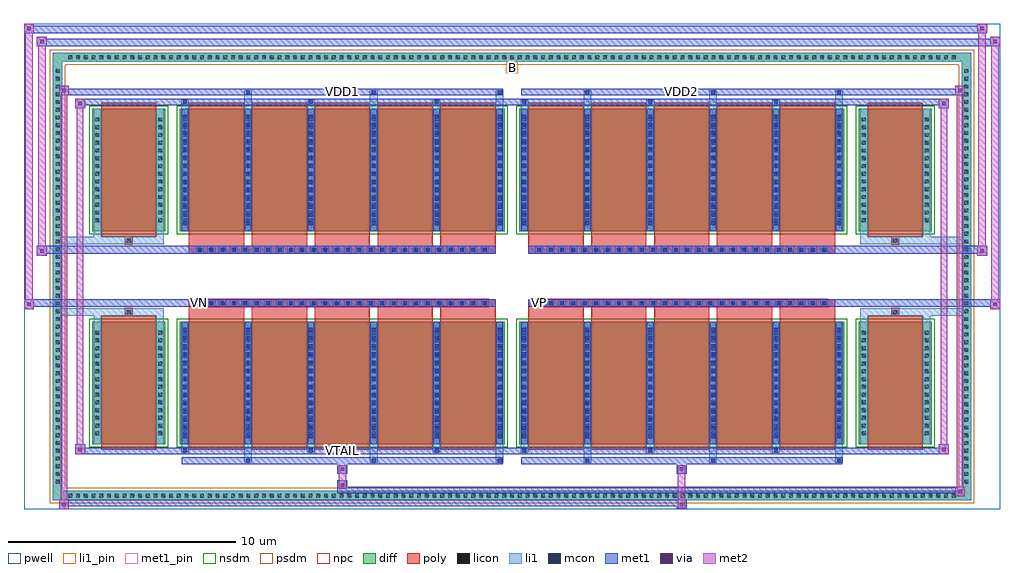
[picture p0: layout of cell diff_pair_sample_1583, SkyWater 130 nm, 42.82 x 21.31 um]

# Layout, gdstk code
import gdstk
lib = gdstk.Library(unit=1e-6, precision=5e-09)
def R(c, l, rs):  # rectangles x0, y0, x1, y1
    for r in rs: c.add(gdstk.rectangle(r[:2], r[2:], *l))
def A(c, l, x, y, w, h, nx, ny, dx, dy):  # array of equal rectangles
    R(c, l, [(x+i*dx, y+j*dy, x+i*dx+w, y+j*dy+h) for i in range(nx) for j in range(ny)])
def P(c, l, *ps):  # polygons
    for p in ps: c.add(gdstk.Polygon(p, *l))
pwell = (64, 44)
diff = (65, 20)
poly = (66, 20)
licon = (66, 44)
li1_pin = (67, 16)
li1 = (67, 20)
mcon = (67, 44)
met1_pin = (68, 16)
met1 = (68, 20)
via = (68, 44)
met2 = (69, 20)
nsdm = (93, 44)
psdm = (94, 20)
npc = (95, 20)

diff_pair_sample_1583 = lib.new_cell('diff_pair_sample_1583')
R(diff_pair_sample_1583, pwell, [(-21.41,-10.22,21.41,11.09), (-18.73,-8.41,-0.01,-0.805), (0.01,-8.41,18.73,-0.805), (-18.73,0.805,-0.01,8.41), (0.01,0.805,18.73,8.41)])
A(diff_pair_sample_1583, diff, -19.585, -9.82, 0.41, 0.41, 115, 2, 0.34, 19.23)
A(diff_pair_sample_1583, diff, -20.14, -9.215, 0.41, 0.41, 1, 54, 0, 0.34)
A(diff_pair_sample_1583, diff, 19.73, -9.215, 0.41, 0.41, 1, 54, 0, 0.34)
R(diff_pair_sample_1583, diff, [(-19.585,-9.82,19.585,-9.41), (-20.14,-9.215,-19.73,9.215), (19.73,-9.215,20.14,9.215), (-18.42,-7.365,-15.21,-1.985), (-14.57,-7.365,-0.32,-1.985), (0.32,-7.365,14.57,-1.985), (15.21,-7.365,18.42,-1.985), (-18.42,1.985,-15.21,7.365), (-14.57,1.985,-0.32,7.365), (0.32,1.985,14.57,7.365), (15.21,1.985,18.42,7.365), (-19.585,9.41,19.585,9.82)])
P(diff_pair_sample_1583, diff, [(20.14,9.82),(-20.14,9.82),(-20.14,-9.41),(-19.73,-9.41),(-19.73,9.41),(19.73,9.41),(19.73,-9.41),(-19.73,-9.41),(-20.14,-9.41),(-20.14,-9.82),(20.14,-9.82)])
A(diff_pair_sample_1583, poly, -14.18, -7.615, 2.43, 5.88, 5, 2, 2.76, 9.35)
A(diff_pair_sample_1583, poly, 0.71, -7.615, 2.43, 5.88, 5, 2, 2.76, 9.35)
A(diff_pair_sample_1583, poly, -14.18, -1.735, 2.43, 0.4, 5, 2, 2.76, 3.07)
A(diff_pair_sample_1583, poly, 0.71, -1.735, 2.43, 0.4, 5, 2, 2.76, 3.07)
A(diff_pair_sample_1583, poly, -13.86, -1.335, 0.33, 0.33, 26, 2, 0.5, 2.34)
A(diff_pair_sample_1583, poly, 1.03, -1.335, 0.33, 0.33, 26, 2, 0.5, 2.34)
R(diff_pair_sample_1583, poly, [(-18.03,-7.615,-15.6,-1.735), (15.6,-7.615,18.03,-1.735), (-16.98,-1.735,-16.65,-1.405), (-16.98,-1.735,-16.65,-1.405), (16.65,-1.735,16.98,-1.405), (16.65,-1.735,16.98,-1.405), (-14.18,-1.335,-0.71,-1.005), (0.71,-1.335,14.18,-1.005), (-14.18,1.005,-0.71,1.335), (0.71,1.005,14.18,1.335), (-16.98,1.405,-16.65,1.735), (-16.98,1.405,-16.65,1.735), (16.65,1.405,16.98,1.735), (16.65,1.405,16.98,1.735), (-18.03,1.735,-15.6,7.615), (15.6,1.735,18.03,7.615)])
A(diff_pair_sample_1583, licon, -19.465, -9.7, 0.17, 0.17, 115, 2, 0.34, 19.23)
A(diff_pair_sample_1583, licon, -20.02, -9.095, 0.17, 0.17, 1, 54, 0, 0.34)
A(diff_pair_sample_1583, licon, 19.85, -9.095, 0.17, 0.17, 1, 54, 0, 0.34)
A(diff_pair_sample_1583, licon, -18.28, -6.97, 0.17, 0.17, 1, 14, 0, 0.34)
A(diff_pair_sample_1583, licon, -15.52, -6.97, 0.17, 0.17, 1, 14, 0, 0.34)
A(diff_pair_sample_1583, licon, -14.43, -6.97, 0.17, 0.17, 6, 14, 2.76, 0.34)
A(diff_pair_sample_1583, licon, 0.46, -6.97, 0.17, 0.17, 6, 14, 2.76, 0.34)
A(diff_pair_sample_1583, licon, 15.35, -6.97, 0.17, 0.17, 1, 14, 0, 0.34)
A(diff_pair_sample_1583, licon, 18.11, -6.97, 0.17, 0.17, 1, 14, 0, 0.34)
A(diff_pair_sample_1583, licon, -13.78, -1.255, 0.17, 0.17, 26, 2, 0.5, 2.34)
A(diff_pair_sample_1583, licon, 1.11, -1.255, 0.17, 0.17, 26, 2, 0.5, 2.34)
A(diff_pair_sample_1583, licon, -18.28, 2.38, 0.17, 0.17, 1, 14, 0, 0.34)
A(diff_pair_sample_1583, licon, -15.52, 2.38, 0.17, 0.17, 1, 14, 0, 0.34)
A(diff_pair_sample_1583, licon, -14.43, 2.38, 0.17, 0.17, 6, 14, 2.76, 0.34)
A(diff_pair_sample_1583, licon, 0.46, 2.38, 0.17, 0.17, 6, 14, 2.76, 0.34)
A(diff_pair_sample_1583, licon, 15.35, 2.38, 0.17, 0.17, 1, 14, 0, 0.34)
A(diff_pair_sample_1583, licon, 18.11, 2.38, 0.17, 0.17, 1, 14, 0, 0.34)
R(diff_pair_sample_1583, licon, [(-16.9,-1.655,-16.73,-1.485), (16.73,-1.655,16.9,-1.485), (-16.9,1.485,-16.73,1.655), (16.73,1.485,16.9,1.655)])
R(diff_pair_sample_1583, li1_pin, [(-0.25,8.91,0.25,9.41)])
A(diff_pair_sample_1583, li1, -19.545, -9.78, 0.33, 0.33, 115, 2, 0.34, 19.23)
A(diff_pair_sample_1583, li1, -20.1, -9.175, 0.33, 0.33, 1, 54, 0, 0.34)
A(diff_pair_sample_1583, li1, 19.77, -9.175, 0.33, 0.33, 1, 54, 0, 0.34)
A(diff_pair_sample_1583, li1, -11.75, -8.17, 0.33, 0.805, 3, 2, 5.52, 15.535)
A(diff_pair_sample_1583, li1, -11.67, -8.17, 0.17, 0.17, 3, 2, 5.52, 16.17)
A(diff_pair_sample_1583, li1, 3.14, -8.17, 0.33, 0.805, 3, 2, 5.52, 15.535)
A(diff_pair_sample_1583, li1, 3.22, -8.17, 0.17, 0.17, 3, 2, 5.52, 16.17)
A(diff_pair_sample_1583, li1, -14.51, -7.74, 0.33, 0.375, 3, 2, 5.52, 15.105)
A(diff_pair_sample_1583, li1, -14.43, -7.74, 0.17, 0.17, 3, 2, 5.52, 15.31)
A(diff_pair_sample_1583, li1, 0.38, -7.74, 0.33, 0.375, 3, 2, 5.52, 15.105)
A(diff_pair_sample_1583, li1, 0.46, -7.74, 0.17, 0.17, 3, 2, 5.52, 15.31)
A(diff_pair_sample_1583, li1, -14.51, -7.365, 0.33, 5.38, 6, 2, 2.76, 9.35)
A(diff_pair_sample_1583, li1, 0.38, -7.365, 0.33, 5.38, 6, 2, 2.76, 9.35)
A(diff_pair_sample_1583, li1, -14.43, -7.1, 0.17, 0.17, 6, 14, 2.76, 0.36)
A(diff_pair_sample_1583, li1, -14.43, -7.1, 0.17, 4.85, 6, 2, 2.76, 9.35)
A(diff_pair_sample_1583, li1, 0.46, -7.1, 0.17, 0.17, 6, 14, 2.76, 0.36)
A(diff_pair_sample_1583, li1, 0.46, -7.1, 0.17, 4.85, 6, 2, 2.76, 9.35)
A(diff_pair_sample_1583, li1, -18.36, -7.05, 0.33, 0.33, 1, 14, 0, 0.34)
A(diff_pair_sample_1583, li1, -15.6, -7.05, 0.33, 0.33, 1, 14, 0, 0.34)
A(diff_pair_sample_1583, li1, -14.51, -7.05, 0.33, 0.33, 6, 14, 2.76, 0.34)
A(diff_pair_sample_1583, li1, 0.38, -7.05, 0.33, 0.33, 6, 14, 2.76, 0.34)
A(diff_pair_sample_1583, li1, 15.27, -7.05, 0.33, 0.33, 1, 14, 0, 0.34)
A(diff_pair_sample_1583, li1, 18.03, -7.05, 0.33, 0.33, 1, 14, 0, 0.34)
A(diff_pair_sample_1583, li1, -13.86, -1.335, 0.33, 0.33, 26, 2, 0.5, 2.34)
A(diff_pair_sample_1583, li1, 1.03, -1.335, 0.33, 0.33, 26, 2, 0.5, 2.34)
A(diff_pair_sample_1583, li1, -14.43, 2.25, 0.17, 0.17, 6, 14, 2.76, 0.36)
A(diff_pair_sample_1583, li1, 0.46, 2.25, 0.17, 0.17, 6, 14, 2.76, 0.36)
A(diff_pair_sample_1583, li1, -18.36, 2.3, 0.33, 0.33, 1, 14, 0, 0.34)
A(diff_pair_sample_1583, li1, -15.6, 2.3, 0.33, 0.33, 1, 14, 0, 0.34)
A(diff_pair_sample_1583, li1, -14.51, 2.3, 0.33, 0.33, 6, 14, 2.76, 0.34)
A(diff_pair_sample_1583, li1, 0.38, 2.3, 0.33, 0.33, 6, 14, 2.76, 0.34)
A(diff_pair_sample_1583, li1, 15.27, 2.3, 0.33, 0.33, 1, 14, 0, 0.34)
A(diff_pair_sample_1583, li1, 18.03, 2.3, 0.33, 0.33, 1, 14, 0, 0.34)
R(diff_pair_sample_1583, li1, [(-20.14,-9.82,-19.73,-9.41), (-20.14,-9.82,-19.73,-9.41), (-19.73,-9.82,19.73,-9.41), (19.73,-9.82,20.14,-9.41), (19.73,-9.82,20.14,-9.41), (-20.14,-9.41,-19.73,9.41), (19.73,-9.41,20.14,9.41), (-18.36,-7.365,-18.03,-1.985), (-15.6,-7.365,-15.27,-1.985), (15.27,-7.365,15.6,-1.985), (18.03,-7.365,18.36,-1.985), (-18.36,-1.985,-18.03,-1.405), (-15.6,-1.985,-15.27,-1.405), (15.27,-1.985,15.6,-1.405), (18.03,-1.985,18.36,-1.405), (-20.14,-1.735,-16.98,-1.405), (-18.36,-1.735,-16.98,-1.405), (-16.98,-1.735,-16.65,-1.405), (-16.65,-1.735,-15.27,-1.405), (15.27,-1.735,16.65,-1.405), (16.65,-1.735,16.98,-1.405), (16.65,-1.735,20.14,-1.405), (16.98,-1.735,18.36,-1.405), (-20.14,1.405,-16.98,1.735), (-18.36,1.405,-16.98,1.735), (-18.36,1.405,-18.03,1.985), (-16.98,1.405,-16.65,1.735), (-16.65,1.405,-15.27,1.735), (-15.6,1.405,-15.27,1.985), (15.27,1.405,16.65,1.735), (15.27,1.405,15.6,1.985), (16.65,1.405,16.98,1.735), (16.65,1.405,20.14,1.735), (16.98,1.405,18.36,1.735), (18.03,1.405,18.36,1.985), (-18.36,1.985,-18.03,7.365), (-15.6,1.985,-15.27,7.365), (15.27,1.985,15.6,7.365), (18.03,1.985,18.36,7.365), (-20.14,9.41,-19.73,9.82), (-20.14,9.41,-19.73,9.82), (-19.73,9.41,19.73,9.82), (19.73,9.41,20.14,9.82), (19.73,9.41,20.14,9.82)])
A(diff_pair_sample_1583, mcon, -11.67, -8.17, 0.17, 0.17, 3, 2, 5.52, 16.17)
A(diff_pair_sample_1583, mcon, 3.22, -8.17, 0.17, 0.17, 3, 2, 5.52, 16.17)
A(diff_pair_sample_1583, mcon, -14.43, -7.74, 0.17, 0.17, 3, 2, 5.52, 15.31)
A(diff_pair_sample_1583, mcon, 0.46, -7.74, 0.17, 0.17, 3, 2, 5.52, 15.31)
A(diff_pair_sample_1583, mcon, -14.43, -7.1, 0.17, 0.17, 6, 14, 2.76, 0.36)
A(diff_pair_sample_1583, mcon, 0.46, -7.1, 0.17, 0.17, 6, 14, 2.76, 0.36)
A(diff_pair_sample_1583, mcon, -13.78, -1.255, 0.17, 0.17, 26, 2, 0.5, 2.34)
A(diff_pair_sample_1583, mcon, 1.11, -1.255, 0.17, 0.17, 26, 2, 0.5, 2.34)
A(diff_pair_sample_1583, mcon, -14.43, 2.25, 0.17, 0.17, 6, 14, 2.76, 0.36)
A(diff_pair_sample_1583, mcon, 0.46, 2.25, 0.17, 0.17, 6, 14, 2.76, 0.36)
R(diff_pair_sample_1583, met1_pin, [(-7.58,-7.78,-7.31,-7.51), (-13.83,-1.295,-13.56,-1.025), (1.06,-1.295,1.33,-1.025), (-7.58,7.96,-7.31,8.23), (7.31,7.96,7.58,8.23)])
A(diff_pair_sample_1583, met1, -11.73, -8.23, 0.29, 0.29, 3, 2, 5.52, 16.17)
A(diff_pair_sample_1583, met1, 3.16, -8.23, 0.29, 0.29, 3, 2, 5.52, 16.17)
A(diff_pair_sample_1583, met1, -14.49, -7.8, 0.29, 0.29, 3, 2, 5.52, 15.31)
A(diff_pair_sample_1583, met1, 0.4, -7.8, 0.29, 0.29, 3, 2, 5.52, 15.31)
A(diff_pair_sample_1583, met1, -14.49, -7.365, 0.29, 5.38, 6, 2, 2.76, 9.35)
A(diff_pair_sample_1583, met1, 0.4, -7.365, 0.29, 5.38, 6, 2, 2.76, 9.35)
A(diff_pair_sample_1583, met1, -14.49, -7.16, 0.29, 0.29, 6, 14, 2.76, 0.36)
A(diff_pair_sample_1583, met1, 0.4, -7.16, 0.29, 0.29, 6, 14, 2.76, 0.36)
A(diff_pair_sample_1583, met1, -13.84, -1.315, 0.29, 0.29, 26, 2, 0.5, 2.34)
A(diff_pair_sample_1583, met1, 1.05, -1.315, 0.29, 0.29, 26, 2, 0.5, 2.34)
A(diff_pair_sample_1583, met1, -14.49, 2.19, 0.29, 0.29, 6, 14, 2.76, 0.36)
A(diff_pair_sample_1583, met1, 0.4, 2.19, 0.29, 0.29, 6, 14, 2.76, 0.36)
R(diff_pair_sample_1583, met1, [(-19.87,-10.22,-19.44,-9.79), (7.23,-10.22,7.66,-9.79), (-19.87,-10.08,7.66,-9.79), (19.44,-9.65,19.87,-9.22), (-7.66,-9.51,19.87,-9.22), (-7.66,-9.37,-7.23,-8.94), (-7.66,-8.66,-7.23,-8.23), (7.23,-8.66,7.66,-8.23), (-14.49,-8.23,-0.4,-7.94), (0.4,-8.23,14.49,-7.94), (-19.16,-7.8,-18.73,-7.37), (-19.16,-7.8,-14.49,-7.51), (-14.49,-7.8,-0.4,-7.51), (-0.4,-7.8,0.4,-7.51), (0.4,-7.8,14.49,-7.51), (14.49,-7.8,19.16,-7.51), (18.73,-7.8,19.16,-7.37), (-21.41,-1.435,-20.98,-1.005), (20.98,-1.435,21.41,-1.005), (-21.41,-1.335,-0.71,-1.005), (-14.18,-1.335,-0.71,-1.005), (0.71,-1.335,14.18,-1.005), (0.71,-1.335,21.41,-1.005), (-20.84,0.905,-20.41,1.335), (20.41,0.905,20.84,1.335), (-20.84,1.005,-14.18,1.335), (-14.18,1.005,-0.71,1.335), (0.71,1.005,14.18,1.335), (14.18,1.005,20.84,1.335), (-19.16,7.37,-18.73,7.8), (18.73,7.37,19.16,7.8), (-19.16,7.51,-14.49,7.8), (-14.49,7.51,-0.4,7.8), (-0.4,7.51,0.4,7.8), (0.4,7.51,14.49,7.8), (14.49,7.51,19.16,7.8), (-19.87,7.94,-19.44,8.37), (-19.87,7.94,-14.49,8.23), (-14.49,7.94,-0.4,8.23), (0.4,7.94,14.49,8.23), (14.49,7.94,19.87,8.23), (19.44,7.94,19.87,8.37), (-20.84,10.09,-20.41,10.52), (-20.84,10.09,-18.73,10.42), (-18.73,10.09,18.73,10.42), (18.73,10.09,21.41,10.42), (20.98,10.09,21.41,10.52), (-21.41,10.66,-20.98,11.09), (-21.41,10.66,-18.73,10.99), (-18.73,10.66,18.73,10.99), (18.73,10.66,20.84,10.99), (20.41,10.66,20.84,11.09)])
R(diff_pair_sample_1583, via, [(-19.73,-10.08,-19.58,-9.93), (7.37,-10.08,7.52,-9.93), (19.58,-9.51,19.73,-9.36), (-7.52,-9.23,-7.37,-9.08), (-7.52,-8.52,-7.37,-8.37), (7.37,-8.52,7.52,-8.37), (-19.02,-7.66,-18.87,-7.51), (18.87,-7.66,19.02,-7.51), (-21.27,-1.295,-21.12,-1.145), (21.12,-1.295,21.27,-1.145), (-20.7,1.045,-20.55,1.195), (20.55,1.045,20.7,1.195), (-19.02,7.51,-18.87,7.66), (18.87,7.51,19.02,7.66), (-19.73,8.08,-19.58,8.23), (19.58,8.08,19.73,8.23), (-20.7,10.23,-20.55,10.38), (21.12,10.23,21.27,10.38), (-21.27,10.8,-21.12,10.95), (20.55,10.8,20.7,10.95)])
R(diff_pair_sample_1583, met2, [(-19.87,-10.22,-19.44,-9.79), (-19.8,-10.22,-19.51,8.37), (-19.51,-10.22,-19.44,-9.79), (-19.82,-10.17,-19.49,-9.84), (7.28,-10.17,7.61,-9.84), (7.28,-9.84,7.61,-8.61), (19.44,-9.65,19.87,-9.22), (19.51,-9.65,19.8,8.37), (19.8,-9.65,19.87,-9.22), (19.49,-9.6,19.82,-9.27), (-7.61,-9.32,-7.28,-8.99), (-7.61,-8.99,-7.28,-8.61), (-7.61,-8.61,-7.28,-8.28), (7.28,-8.61,7.61,-8.28), (-19.16,-7.8,-18.73,-7.37), (-19.09,-7.8,-18.8,7.8), (-18.8,-7.8,-18.73,-7.37), (18.73,-7.8,19.16,-7.37), (18.8,-7.8,19.09,7.8), (19.09,-7.8,19.16,-7.37), (-19.11,-7.75,-18.78,-7.42), (18.78,-7.75,19.11,-7.42), (-21.41,-1.435,-20.98,-1.005), (-21.36,-1.435,-21.03,11.09), (-21.03,-1.435,-20.98,-1.005), (20.98,-1.435,21.41,-1.005), (21.03,-1.435,21.36,10.52), (21.36,-1.435,21.41,-1.005), (-21.36,-1.385,-21.03,-1.055), (21.03,-1.385,21.36,-1.055), (-20.84,0.905,-20.41,1.335), (-20.79,0.905,-20.46,10.52), (-20.46,0.905,-20.41,1.335), (20.41,0.905,20.84,1.335), (20.46,0.905,20.79,11.09), (20.79,0.905,20.84,1.335), (-20.79,0.955,-20.46,1.285), (20.46,0.955,20.79,1.285), (-19.16,7.37,-18.73,7.8), (-18.8,7.37,-18.73,7.8), (18.73,7.37,19.16,7.8), (19.09,7.37,19.16,7.8), (-19.11,7.42,-18.78,7.75), (18.78,7.42,19.11,7.75), (-19.87,7.94,-19.44,8.37), (-19.51,7.94,-19.44,8.37), (19.44,7.94,19.87,8.37), (19.8,7.94,19.87,8.37), (-19.82,7.99,-19.49,8.32), (19.49,7.99,19.82,8.32), (-20.84,10.09,-20.41,10.52), (-20.46,10.09,-20.41,10.52), (20.98,10.09,21.41,10.52), (21.36,10.09,21.41,10.52), (-20.79,10.14,-20.46,10.47), (21.03,10.14,21.36,10.47), (-21.41,10.66,-20.98,11.09), (-21.03,10.66,-20.98,11.09), (20.41,10.66,20.84,11.09), (20.79,10.66,20.84,11.09), (-21.36,10.71,-21.03,11.04), (20.46,10.71,20.79,11.04)])
R(diff_pair_sample_1583, nsdm, [(-18.55,-7.495,-15.08,-1.855), (-14.7,-7.495,-0.19,-1.855), (0.19,-7.495,14.7,-1.855), (15.08,-7.495,18.55,-1.855), (-18.55,1.855,-15.08,7.495), (-14.7,1.855,-0.19,7.495), (0.19,1.855,14.7,7.495), (15.08,1.855,18.55,7.495)])
P(diff_pair_sample_1583, psdm, [(20.27,9.95),(-20.27,9.95),(-20.27,-9.28),(-19.6,-9.28),(-19.6,9.28),(19.6,9.28),(19.6,-9.28),(-19.6,-9.28),(-20.27,-9.28),(-20.27,-9.95),(20.27,-9.95)])
A(diff_pair_sample_1583, npc, -13.88, -1.355, 0.37, 0.37, 26, 2, 0.5, 2.34)
A(diff_pair_sample_1583, npc, 1.01, -1.355, 0.37, 0.37, 26, 2, 0.5, 2.34)
R(diff_pair_sample_1583, npc, [(-17,-1.755,-16.63,-1.385), (16.63,-1.755,17,-1.385), (-13.88,-1.355,-13.01,-0.985), (-13.88,-1.355,-13.01,-0.985), (-13.38,-1.355,-12.51,-0.985), (-13.38,-1.355,-12.51,-0.985), (-12.88,-1.355,-12.01,-0.985), (-12.88,-1.355,-12.01,-0.985), (-12.38,-1.355,-11.51,-0.985), (-12.38,-1.355,-11.51,-0.985), (-11.88,-1.355,-11.01,-0.985), (-11.88,-1.355,-11.01,-0.985), (-11.38,-1.355,-10.51,-0.985), (-11.38,-1.355,-10.51,-0.985), (-10.88,-1.355,-10.01,-0.985), (-10.88,-1.355,-10.01,-0.985), (-10.38,-1.355,-9.51,-0.985), (-10.38,-1.355,-9.51,-0.985), (-9.88,-1.355,-9.01,-0.985), (-9.88,-1.355,-9.01,-0.985), (-9.38,-1.355,-8.51,-0.985), (-9.38,-1.355,-8.51,-0.985), (-8.88,-1.355,-8.01,-0.985), (-8.88,-1.355,-8.01,-0.985), (-8.38,-1.355,-7.51,-0.985), (-8.38,-1.355,-7.51,-0.985), (-7.88,-1.355,-7.01,-0.985), (-7.88,-1.355,-7.01,-0.985), (-7.38,-1.355,-6.51,-0.985), (-7.38,-1.355,-6.51,-0.985), (-6.88,-1.355,-6.01,-0.985), (-6.88,-1.355,-6.01,-0.985), (-6.38,-1.355,-5.51,-0.985), (-6.38,-1.355,-5.51,-0.985), (-5.88,-1.355,-5.01,-0.985), (-5.88,-1.355,-5.01,-0.985), (-5.38,-1.355,-4.51,-0.985), (-5.38,-1.355,-4.51,-0.985), (-4.88,-1.355,-4.01,-0.985), (-4.88,-1.355,-4.01,-0.985), (-4.38,-1.355,-3.51,-0.985), (-4.38,-1.355,-3.51,-0.985), (-3.88,-1.355,-3.01,-0.985), (-3.88,-1.355,-3.01,-0.985), (-3.38,-1.355,-2.51,-0.985), (-3.38,-1.355,-2.51,-0.985), (-2.88,-1.355,-2.01,-0.985), (-2.88,-1.355,-2.01,-0.985), (-2.38,-1.355,-1.51,-0.985), (-2.38,-1.355,-1.51,-0.985), (-1.88,-1.355,-1.01,-0.985), (-1.88,-1.355,-1.01,-0.985), (1.01,-1.355,1.88,-0.985), (1.01,-1.355,1.88,-0.985), (1.51,-1.355,2.38,-0.985), (1.51,-1.355,2.38,-0.985), (2.01,-1.355,2.88,-0.985), (2.01,-1.355,2.88,-0.985), (2.51,-1.355,3.38,-0.985), (2.51,-1.355,3.38,-0.985), (3.01,-1.355,3.88,-0.985), (3.01,-1.355,3.88,-0.985), (3.51,-1.355,4.38,-0.985), (3.51,-1.355,4.38,-0.985), (4.01,-1.355,4.88,-0.985), (4.01,-1.355,4.88,-0.985), (4.51,-1.355,5.38,-0.985), (4.51,-1.355,5.38,-0.985), (5.01,-1.355,5.88,-0.985), (5.01,-1.355,5.88,-0.985), (5.51,-1.355,6.38,-0.985), (5.51,-1.355,6.38,-0.985), (6.01,-1.355,6.88,-0.985), (6.01,-1.355,6.88,-0.985), (6.51,-1.355,7.38,-0.985), (6.51,-1.355,7.38,-0.985), (7.01,-1.355,7.88,-0.985), (7.01,-1.355,7.88,-0.985), (7.51,-1.355,8.38,-0.985), (7.51,-1.355,8.38,-0.985), (8.01,-1.355,8.88,-0.985), (8.01,-1.355,8.88,-0.985), (8.51,-1.355,9.38,-0.985), (8.51,-1.355,9.38,-0.985), (9.01,-1.355,9.88,-0.985), (9.01,-1.355,9.88,-0.985), (9.51,-1.355,10.38,-0.985), (9.51,-1.355,10.38,-0.985), (10.01,-1.355,10.88,-0.985), (10.01,-1.355,10.88,-0.985), (10.51,-1.355,11.38,-0.985), (10.51,-1.355,11.38,-0.985), (11.01,-1.355,11.88,-0.985), (11.01,-1.355,11.88,-0.985), (11.51,-1.355,12.38,-0.985), (11.51,-1.355,12.38,-0.985), (12.01,-1.355,12.88,-0.985), (12.01,-1.355,12.88,-0.985), (12.51,-1.355,13.38,-0.985), (12.51,-1.355,13.38,-0.985), (13.01,-1.355,13.88,-0.985), (13.01,-1.355,13.88,-0.985), (-13.88,0.985,-13.01,1.355), (-13.88,0.985,-13.01,1.355), (-13.38,0.985,-12.51,1.355), (-13.38,0.985,-12.51,1.355), (-12.88,0.985,-12.01,1.355), (-12.88,0.985,-12.01,1.355), (-12.38,0.985,-11.51,1.355), (-12.38,0.985,-11.51,1.355), (-11.88,0.985,-11.01,1.355), (-11.88,0.985,-11.01,1.355), (-11.38,0.985,-10.51,1.355), (-11.38,0.985,-10.51,1.355), (-10.88,0.985,-10.01,1.355), (-10.88,0.985,-10.01,1.355), (-10.38,0.985,-9.51,1.355), (-10.38,0.985,-9.51,1.355), (-9.88,0.985,-9.01,1.355), (-9.88,0.985,-9.01,1.355), (-9.38,0.985,-8.51,1.355), (-9.38,0.985,-8.51,1.355), (-8.88,0.985,-8.01,1.355), (-8.88,0.985,-8.01,1.355), (-8.38,0.985,-7.51,1.355), (-8.38,0.985,-7.51,1.355), (-7.88,0.985,-7.01,1.355), (-7.88,0.985,-7.01,1.355), (-7.38,0.985,-6.51,1.355), (-7.38,0.985,-6.51,1.355), (-6.88,0.985,-6.01,1.355), (-6.88,0.985,-6.01,1.355), (-6.38,0.985,-5.51,1.355), (-6.38,0.985,-5.51,1.355), (-5.88,0.985,-5.01,1.355), (-5.88,0.985,-5.01,1.355), (-5.38,0.985,-4.51,1.355), (-5.38,0.985,-4.51,1.355), (-4.88,0.985,-4.01,1.355), (-4.88,0.985,-4.01,1.355), (-4.38,0.985,-3.51,1.355), (-4.38,0.985,-3.51,1.355), (-3.88,0.985,-3.01,1.355), (-3.88,0.985,-3.01,1.355), (-3.38,0.985,-2.51,1.355), (-3.38,0.985,-2.51,1.355), (-2.88,0.985,-2.01,1.355), (-2.88,0.985,-2.01,1.355), (-2.38,0.985,-1.51,1.355), (-2.38,0.985,-1.51,1.355), (-1.88,0.985,-1.01,1.355), (-1.88,0.985,-1.01,1.355), (1.01,0.985,1.88,1.355), (1.01,0.985,1.88,1.355), (1.51,0.985,2.38,1.355), (1.51,0.985,2.38,1.355), (2.01,0.985,2.88,1.355), (2.01,0.985,2.88,1.355), (2.51,0.985,3.38,1.355), (2.51,0.985,3.38,1.355), (3.01,0.985,3.88,1.355), (3.01,0.985,3.88,1.355), (3.51,0.985,4.38,1.355), (3.51,0.985,4.38,1.355), (4.01,0.985,4.88,1.355), (4.01,0.985,4.88,1.355), (4.51,0.985,5.38,1.355), (4.51,0.985,5.38,1.355), (5.01,0.985,5.88,1.355), (5.01,0.985,5.88,1.355), (5.51,0.985,6.38,1.355), (5.51,0.985,6.38,1.355), (6.01,0.985,6.88,1.355), (6.01,0.985,6.88,1.355), (6.51,0.985,7.38,1.355), (6.51,0.985,7.38,1.355), (7.01,0.985,7.88,1.355), (7.01,0.985,7.88,1.355), (7.51,0.985,8.38,1.355), (7.51,0.985,8.38,1.355), (8.01,0.985,8.88,1.355), (8.01,0.985,8.88,1.355), (8.51,0.985,9.38,1.355), (8.51,0.985,9.38,1.355), (9.01,0.985,9.88,1.355), (9.01,0.985,9.88,1.355), (9.51,0.985,10.38,1.355), (9.51,0.985,10.38,1.355), (10.01,0.985,10.88,1.355), (10.01,0.985,10.88,1.355), (10.51,0.985,11.38,1.355), (10.51,0.985,11.38,1.355), (11.01,0.985,11.88,1.355), (11.01,0.985,11.88,1.355), (11.51,0.985,12.38,1.355), (11.51,0.985,12.38,1.355), (12.01,0.985,12.88,1.355), (12.01,0.985,12.88,1.355), (12.51,0.985,13.38,1.355), (12.51,0.985,13.38,1.355), (13.01,0.985,13.88,1.355), (13.01,0.985,13.88,1.355), (-17,1.385,-16.63,1.755), (16.63,1.385,17,1.755)])
diff_pair_sample_1583.add(gdstk.Label('VTAIL', (-7.445,-7.645), layer=68, texttype=5))
diff_pair_sample_1583.add(gdstk.Label('VN', (-13.695,-1.16), layer=68, texttype=5))
diff_pair_sample_1583.add(gdstk.Label('VP', (1.195,-1.16), layer=68, texttype=5))
diff_pair_sample_1583.add(gdstk.Label('B', (0,9.16), layer=67, texttype=5))
diff_pair_sample_1583.add(gdstk.Label('VDD2', (7.445,8.095), layer=68, texttype=5))
diff_pair_sample_1583.add(gdstk.Label('VDD1', (-7.445,8.095), layer=68, texttype=5))

lib.write_gds('diff_pair_sample_1583.gds')
